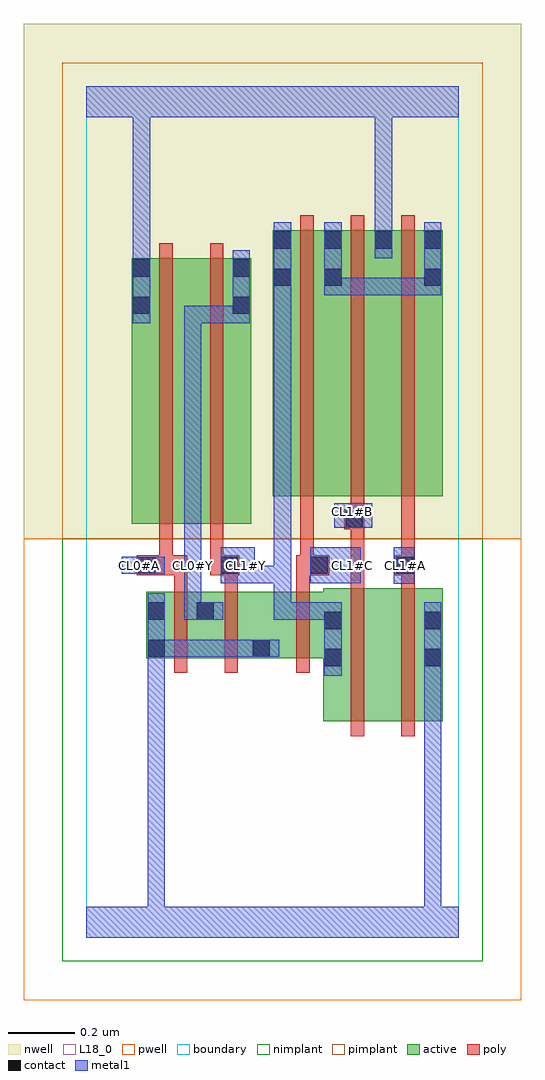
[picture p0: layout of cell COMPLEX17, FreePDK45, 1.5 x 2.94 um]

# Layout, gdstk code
import gdstk
lib = gdstk.Library(unit=1e-6, precision=1e-09)
def R(c, l, rs):  # rectangles x0, y0, x1, y1
    for r in rs: c.add(gdstk.rectangle(r[:2], r[2:], *l))
def A(c, l, x, y, w, h, nx, ny, dx, dy):  # array of equal rectangles
    R(c, l, [(x+i*dx, y+j*dy, x+i*dx+w, y+j*dy+h) for i in range(nx) for j in range(ny)])
active = (1, 0)
pwell = (2, 0)
nwell = (3, 0)
nimplant = (4, 0)
pimplant = (5, 0)
poly = (9, 0)
contact = (10, 0)
metal1 = (11, 0)
L18_0 = (18, 0)
boundary = (235, 0)

complex17 = lib.new_cell('COMPLEX17')
R(complex17, active, [(0.712,0.65,0.892,1.05), (0.712,0.65,0.772,1.012), (0.892,0.65,1.072,1.05), (1.012,0.65,1.072,1.05), (0.18,0.84,0.24,1.04), (0.18,0.84,0.388,1.04), (0.328,0.84,0.388,1.04), (0.328,0.84,0.556,1.04), (0.496,0.84,0.772,1.04), (0.496,0.84,0.556,1.04), (0.136,1.244,0.196,2.044), (0.136,1.244,0.316,2.044), (0.316,1.244,0.496,2.044), (0.436,1.244,0.496,2.044), (0.56,1.328,0.62,2.128), (0.56,1.328,0.772,2.128), (0.712,1.328,0.924,2.128), (0.864,1.328,1.072,2.128), (1.012,1.328,1.072,2.128), (0.712,1.36,0.772,2.128), (0.864,1.498,0.924,2.128)])
R(complex17, pwell, [(-0.188,-0.188,1.308,1.2)])
R(complex17, nwell, [(-0.188,1.2,1.308,2.748)])
R(complex17, nimplant, [(-0.072,-0.072,1.192,1.2)])
R(complex17, pimplant, [(-0.072,1.2,1.192,2.632)])
A(complex17, poly, 0.644, 1.284, 0.04, 0.888, 3, 1, 0.152, 0)
R(complex17, poly, [(0.796,0.606,0.836,1.094), (0.948,0.606,0.988,1.094), (0.264,0.796,0.304,1.084), (0.416,0.796,0.456,1.084), (0.632,0.796,0.672,1.084), (0.264,1.044,0.304,1.13), (0.416,1.044,0.456,1.13), (0.632,1.044,0.672,1.13), (0.796,1.054,0.836,1.268), (0.948,1.054,0.988,1.13), (0.152,1.09,0.304,1.15), (0.372,1.09,0.46,1.15), (0.416,1.09,0.456,1.13), (0.416,1.09,0.456,1.13), (0.632,1.09,0.73,1.15), (0.928,1.09,0.988,1.15), (0.22,1.11,0.26,1.15), (0.22,1.11,0.26,1.15), (0.22,1.11,0.26,1.24), (0.372,1.11,0.412,1.24), (0.644,1.11,0.684,1.324), (0.644,1.11,0.684,1.15), (0.644,1.11,0.684,1.15), (0.948,1.11,0.988,1.324), (0.948,1.11,0.988,1.15), (0.948,1.11,0.988,1.15), (0.22,1.2,0.26,2.088), (0.372,1.2,0.412,2.088), (0.776,1.228,0.836,1.288), (0.796,1.228,0.836,1.268), (0.796,1.228,0.836,1.268), (0.796,1.248,0.836,1.324)])
A(complex17, contact, 0.564, 2.072, 0.052, 0.052, 3, 1, 0.152, 0)
R(complex17, contact, [(0.716,0.816,0.768,0.868), (1.016,0.816,1.068,0.868), (0.184,0.844,0.236,0.896), (0.5,0.844,0.552,0.896), (0.716,0.928,0.768,0.98), (1.016,0.928,1.068,0.98), (0.184,0.956,0.236,1.008), (0.332,0.956,0.384,1.008), (0.156,1.094,0.208,1.146), (0.404,1.094,0.456,1.146), (0.674,1.094,0.726,1.146), (0.932,1.094,0.984,1.146), (0.78,1.232,0.832,1.284), (0.14,1.876,0.192,1.928), (0.44,1.876,0.492,1.928), (0.564,1.96,0.616,2.012), (0.716,1.96,0.768,2.012), (1.016,1.96,1.068,2.012), (0.14,1.988,0.192,2.04), (0.44,1.988,0.492,2.04), (1.016,2.072,1.068,2.124)])
R(complex17, metal1, [(0,0,1.12,0.092), (0.184,0.04,0.236,0.092), (0.184,0.04,0.236,0.092), (0.184,0.04,0.236,0.092), (0.184,0.04,0.236,0.092), (0.184,0.04,0.236,0.092), (0.184,0.04,0.236,0.092), (0.184,0.04,0.236,0.092), (0.184,0.04,0.236,0.092), (0.184,0.04,0.236,0.092), (0.184,0.04,0.236,0.092), (0.184,0.04,0.236,0.092), (0.184,0.04,0.236,0.092), (0.184,0.04,0.236,0.092), (0.184,0.04,0.236,0.092), (0.184,0.04,0.236,0.092), (0.184,0.04,0.236,0.092), (0.184,0.04,0.236,0.868), (1.016,0.04,1.068,0.84), (1.016,0.04,1.068,0.092), (1.016,0.04,1.068,0.092), (1.016,0.04,1.068,0.092), (1.016,0.04,1.068,0.092), (1.016,0.04,1.068,0.092), (1.016,0.04,1.068,0.092), (1.016,0.04,1.068,0.092), (1.016,0.04,1.068,0.092), (1.016,0.04,1.068,0.092), (1.016,0.04,1.068,0.092), (1.016,0.04,1.068,0.092), (1.016,0.04,1.068,0.092), (0.716,0.788,0.768,1.008), (1.016,0.788,1.068,1.008), (0.184,0.816,0.236,1.036), (0.184,0.844,0.236,0.896), (0.184,0.844,0.236,0.896), (0.184,0.844,0.382,0.896), (0.33,0.844,0.382,0.896), (0.33,0.844,0.382,0.896), (0.33,0.844,0.382,0.896), (0.33,0.844,0.524,0.896), (0.472,0.844,0.58,0.896), (0.294,0.956,0.346,1.118), (0.294,0.956,0.412,1.008), (0.564,0.956,0.616,1.008), (0.564,0.956,0.616,1.008), (0.564,0.956,0.616,1.008), (0.564,0.956,0.768,1.008), (0.564,0.956,0.616,1.118), (0.924,1.064,0.986,1.174), (0.294,1.066,0.346,1.174), (0.404,1.066,0.506,1.174), (0.454,1.066,0.506,1.118), (0.454,1.066,0.506,1.118), (0.454,1.066,0.616,1.118), (0.564,1.066,0.616,1.118), (0.564,1.066,0.616,1.118), (0.564,1.066,0.616,1.118), (0.564,1.066,0.616,1.984), (0.674,1.066,0.826,1.174), (0.106,1.094,0.236,1.146), (0.294,1.122,0.346,1.9), (0.746,1.232,0.86,1.306), (0.14,1.848,0.192,2.068), (0.294,1.848,0.346,1.9), (0.294,1.848,0.346,1.9), (0.294,1.848,0.346,1.9), (0.294,1.848,0.492,1.9), (0.44,1.848,0.492,2.068), (0.44,1.848,0.492,1.9), (0.44,1.848,0.492,1.9), (0.564,1.932,0.616,2.152), (0.716,1.932,0.768,2.152), (0.716,1.932,0.768,1.984), (0.716,1.932,0.768,1.984), (0.716,1.932,0.878,1.984), (0.826,1.932,1.068,1.984), (0.826,1.932,0.878,1.984), (0.826,1.932,0.878,1.984), (0.826,1.932,0.878,1.984), (1.016,1.932,1.068,2.152), (0.14,2.016,0.192,2.52), (0.868,2.044,0.92,2.152), (0.868,2.1,0.92,2.152), (0.868,2.1,0.92,2.152), (0.868,2.1,0.92,2.152), (0.868,2.1,0.92,2.152), (0.868,2.1,0.92,2.152), (0.868,2.1,0.92,2.152), (0.868,2.1,0.92,2.52), (0,2.468,1.12,2.56), (0.14,2.468,0.192,2.52), (0.14,2.468,0.192,2.52), (0.14,2.468,0.192,2.52), (0.14,2.468,0.192,2.52), (0.14,2.468,0.192,2.52), (0.14,2.468,0.192,2.52), (0.14,2.468,0.192,2.52), (0.14,2.468,0.192,2.52), (0.868,2.468,0.92,2.52), (0.868,2.468,0.92,2.52)])
A(complex17, L18_0, 0.134, 1.094, 0.052, 0.052, 3, 1, 0.16, 0)
R(complex17, L18_0, [(0,0,1.12,0.092), (0.184,0.04,0.236,0.092), (0.184,0.04,0.236,0.092), (0.184,0.04,0.236,0.092), (0.184,0.04,0.236,0.092), (0.184,0.04,0.236,0.092), (0.184,0.04,0.236,0.092), (0.184,0.04,0.236,0.092), (0.184,0.04,0.236,0.092), (0.184,0.04,0.236,0.092), (0.184,0.04,0.236,0.092), (0.184,0.04,0.236,0.092), (0.184,0.04,0.236,0.092), (0.184,0.04,0.236,0.092), (0.184,0.04,0.236,0.092), (0.184,0.04,0.236,0.092), (0.184,0.04,0.236,0.092), (0.184,0.04,0.236,0.868), (1.016,0.04,1.068,0.092), (1.016,0.04,1.068,0.092), (1.016,0.04,1.068,0.092), (1.016,0.04,1.068,0.092), (1.016,0.04,1.068,0.092), (1.016,0.04,1.068,0.092), (1.016,0.04,1.068,0.092), (1.016,0.04,1.068,0.092), (1.016,0.04,1.068,0.092), (1.016,0.04,1.068,0.092), (1.016,0.04,1.068,0.092), (1.016,0.04,1.068,0.092), (1.016,0.04,1.068,0.84), (0.716,0.788,0.768,1.008), (1.016,0.788,1.068,1.008), (0.184,0.816,0.236,1.036), (0.184,0.844,0.236,0.896), (0.184,0.844,0.236,0.896), (0.184,0.844,0.382,0.896), (0.33,0.844,0.382,0.896), (0.33,0.844,0.382,0.896), (0.33,0.844,0.382,0.896), (0.33,0.844,0.524,0.896), (0.472,0.844,0.58,0.896), (0.294,0.956,0.412,1.008), (0.294,0.956,0.346,1.118), (0.564,0.956,0.616,1.008), (0.564,0.956,0.616,1.008), (0.564,0.956,0.616,1.008), (0.564,0.956,0.616,1.118), (0.564,0.956,0.768,1.008), (0.924,1.064,0.986,1.174), (0.294,1.066,0.346,1.174), (0.404,1.066,0.506,1.174), (0.454,1.066,0.506,1.118), (0.454,1.066,0.506,1.118), (0.454,1.066,0.616,1.118), (0.564,1.066,0.616,1.118), (0.564,1.066,0.616,1.118), (0.564,1.066,0.616,1.118), (0.564,1.066,0.616,1.984), (0.674,1.066,0.826,1.174), (0.106,1.094,0.236,1.146), (0.774,1.094,0.826,1.146), (0.934,1.094,0.986,1.146), (0.294,1.122,0.346,1.9), (0.746,1.232,0.86,1.306), (0.774,1.254,0.826,1.306), (0.14,1.848,0.192,2.068), (0.294,1.848,0.346,1.9), (0.294,1.848,0.346,1.9), (0.294,1.848,0.346,1.9), (0.294,1.848,0.492,1.9), (0.44,1.848,0.492,1.9), (0.44,1.848,0.492,1.9), (0.44,1.848,0.492,2.068), (0.564,1.932,0.616,2.152), (0.14,2.016,0.192,2.52), (0.868,2.044,0.92,2.152), (0.868,2.1,0.92,2.152), (0.868,2.1,0.92,2.152), (0.868,2.1,0.92,2.152), (0.868,2.1,0.92,2.152), (0.868,2.1,0.92,2.152), (0.868,2.1,0.92,2.152), (0.868,2.1,0.92,2.52), (0,2.468,1.12,2.56), (0.14,2.468,0.192,2.52), (0.14,2.468,0.192,2.52), (0.14,2.468,0.192,2.52), (0.14,2.468,0.192,2.52), (0.14,2.468,0.192,2.52), (0.14,2.468,0.192,2.52), (0.14,2.468,0.192,2.52), (0.14,2.468,0.192,2.52), (0.868,2.468,0.92,2.52), (0.868,2.468,0.92,2.52)])
R(complex17, boundary, [(0,0,1.12,2.56)])
complex17.add(gdstk.Label('CL0#A', (0.16,1.12), layer=11, texttype=0))
complex17.add(gdstk.Label('CL0#Y', (0.32,1.12), layer=11, texttype=0))
complex17.add(gdstk.Label('CL1#A', (0.96,1.12), layer=11, texttype=0))
complex17.add(gdstk.Label('CL1#B', (0.8,1.28), layer=11, texttype=0))
complex17.add(gdstk.Label('CL1#C', (0.8,1.12), layer=11, texttype=0))
complex17.add(gdstk.Label('CL1#Y', (0.48,1.12), layer=11, texttype=0))

lib.write_gds('COMPLEX17.gds')
